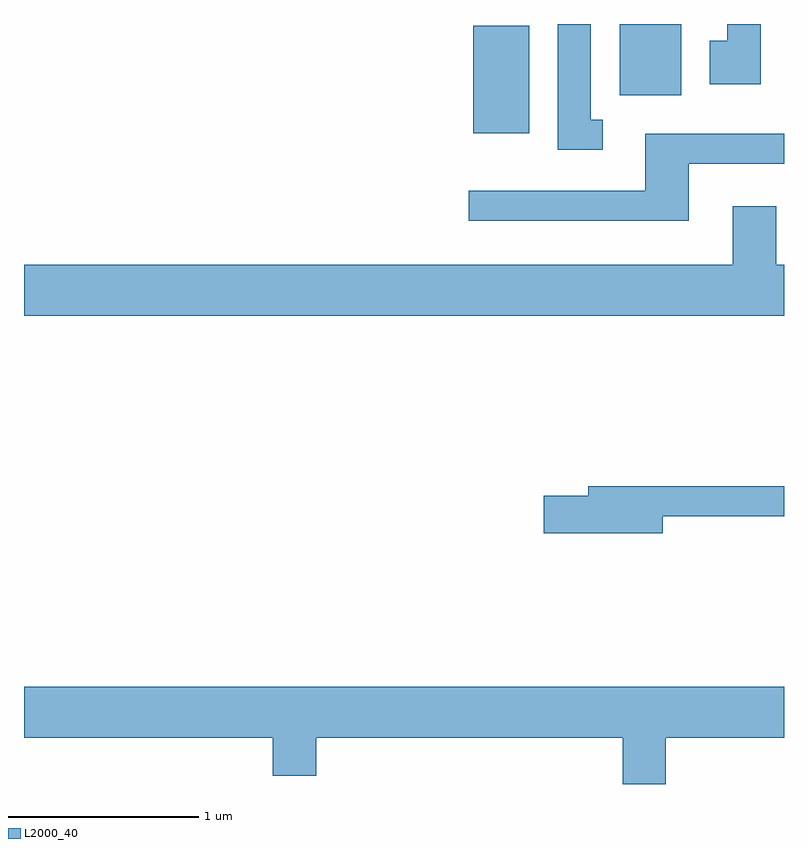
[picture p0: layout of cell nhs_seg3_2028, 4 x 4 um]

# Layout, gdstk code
import gdstk
lib = gdstk.Library(unit=1e-6, precision=1e-09)
def R(c, l, rs):  # rectangles x0, y0, x1, y1
    for r in rs: c.add(gdstk.rectangle(r[:2], r[2:], *l))
def P(c, l, *ps):  # polygons
    for p in ps: c.add(gdstk.Polygon(p, *l))
L2000_40 = (2000, 40)

nhs_seg3_2028 = lib.new_cell('nhs_seg3_2028')
R(nhs_seg3_2028, L2000_40, [(245.976,1231.316,246.269,1231.884), (246.746,1231.516,247.069,1231.892)])
P(nhs_seg3_2028, L2000_40, [(247.489,1231.892),(247.311,1231.892),(247.311,1231.804),(247.221,1231.804),(247.221,1231.576),(247.489,1231.576)],
  [(246.658,1231.389),(246.594,1231.389),(246.594,1231.892),(246.421,1231.892),(246.421,1231.231),(246.658,1231.231)],
  [(247.109,1231.156),(247.611,1231.156),(247.611,1231.314),(246.881,1231.314),(246.881,1231.014),(245.953,1231.014),(245.953,1230.856),(247.109,1230.856)],
  [(247.611,1230.624),(247.569,1230.624),(247.569,1230.934),(247.341,1230.934),(247.341,1230.624),(243.611,1230.624),(243.611,1230.356),(247.611,1230.356)],
  [(246.974,1229.301),(247.611,1229.301),(247.611,1229.459),(246.581,1229.459),(246.581,1229.409),(246.346,1229.409),(246.346,1229.211),(246.974,1229.211)],
  [(246.989,1228.136),(247.611,1228.136),(247.611,1228.404),(243.611,1228.404),(243.611,1228.136),(244.921,1228.136),(244.921,1227.936),(245.149,1227.936),(245.149,1228.136),(246.761,1228.136),(246.761,1227.892),(246.989,1227.892)])

lib.write_gds('nhs_seg3_2028.gds')
